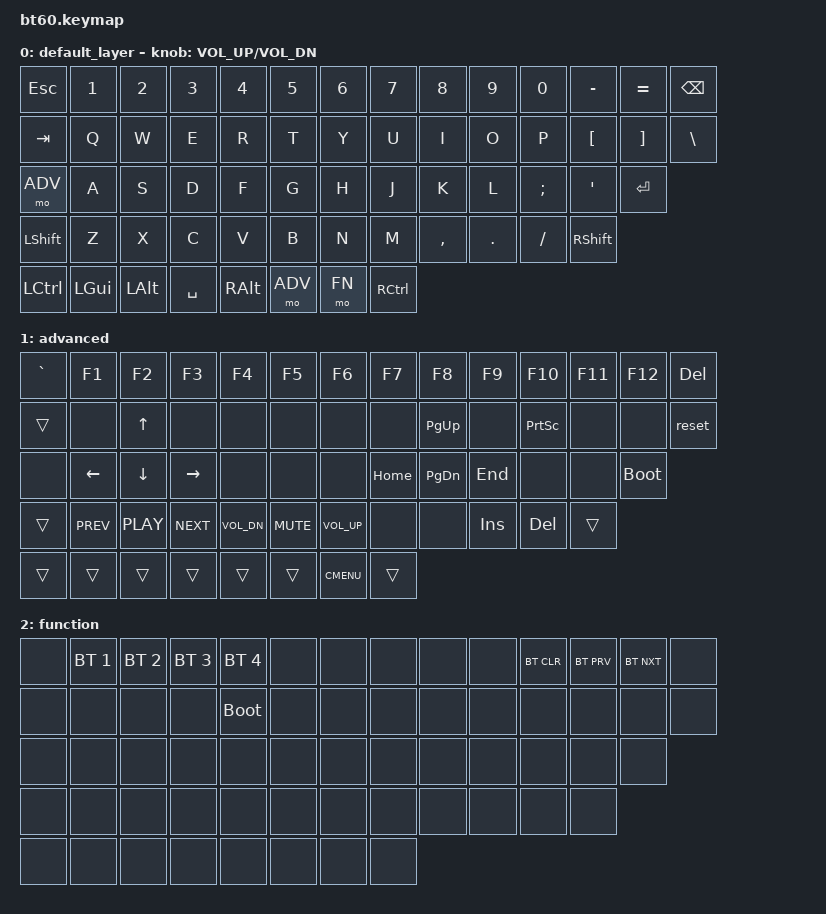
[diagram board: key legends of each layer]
#include <behaviors.dtsi>
#include <dt-bindings/zmk/keys.h>
#include <dt-bindings/zmk/bt.h>

#define DEFAULT 0
#define ADV   	1
#define FN   	2

/ {
	keymap {
		compatible = "zmk,keymap";

		default_layer {
				// ------------------------------------------------------------------------------------------
				// | ESC |  1  |  2  |  3  |  4  |  5  |  6  |  7  |  8  |  9  |  0  |  -  |  =  |   BKSP   |
				// | TAB  |  Q  |  W  |  E  |  R  |  T  |  Y  |  U  |  I  |  O  |  P  |  [  |  ]  |   |    |
				// | CAPS  |  A  |  S  |  D  |  F  |  G  |  H  |  J  |  K  |  L  |  ;  |  '  |     ENTER    |
				// |  SHIFT    |  Z  |  X  |  C  |  V  |  B  |  N  |  M  |  ,  |  .  | /   |      SHIFT     |
				// |  CTL  |  WIN  |  ALT  |            SPACE               | ALT | ADV    |  FN    |  CTRL    |
				// ------------------------------------------------------------------------------------------
			bindings = <
				&kp ESC  &kp N1  &kp N2  &kp N3  &kp N4  &kp N5  &kp N6  &kp N7  &kp N8  &kp N9  &kp N0  &kp MINUS  &kp EQUAL  &kp BSPC
				&kp TAB  &kp Q  &kp W  &kp E  &kp R  &kp T  &kp Y  &kp U  &kp I  &kp O  &kp P  &kp LBKT  &kp RBKT  &kp BSLH
				&mo ADV  &kp A  &kp S  &kp D  &kp F  &kp G  &kp H  &kp J  &kp K  &kp L  &kp SEMI  &kp SQT  &kp RET
				&kp LSHFT  &kp Z  &kp X  &kp C  &kp V  &kp B  &kp N  &kp M  &kp COMMA  &kp DOT  &kp FSLH  &kp RSHFT
				&kp LCTRL  &kp LGUI  &kp LALT   &kp SPACE   &kp RALT  &mo ADV  &mo FN  &kp RCTRL
			>;
			sensor-bindings = <&inc_dec_kp C_VOL_UP C_VOL_DN>;
		};
		advanced {
			bindings = <
				&kp GRAVE  &kp F1  &kp F2  &kp F3  &kp F4  &kp F5  &kp F6  &kp F7  &kp F8  &kp F9  &kp F10  &kp F11  &kp F12  &kp DEL
				&trans  &none  &kp UP  &none  &none  &none  &none  &none  &kp PG_UP  &none  &kp PSCRN  &none  &none  &reset
				&none &kp LEFT &kp DOWN &kp RIGHT &none  &none  &none  &kp HOME  &kp PG_DN  &kp END  &none  &none  &bootloader
				&trans  &kp C_PREV  &kp C_PLAY  &kp C_NEXT  &kp C_VOL_DN  &kp C_MUTE  &kp C_VOL_UP  &none  &none  &kp INS  &kp DEL  &trans
				&trans  &trans  &trans   &trans   &trans  &trans  &kp K_CMENU  &trans
			>;
		};
		function {
			bindings = <
				&none  &bt BT_SEL 1  &bt BT_SEL 2  &bt BT_SEL 3  &bt BT_SEL 4  &none  &none  &none  &none  &none  &bt BT_CLR  &bt BT_PRV  &bt BT_NXT  &none
				&none  &none  &none  &none  &bootloader  &none  &none  &none  &none  &none  &none  &none  &none  &none
				&none  &none  &none  &none  &none  &none  &none  &none  &none  &none  &none  &none  &none
				&none  &none  &none  &none  &none  &none  &none  &none  &none  &none  &none  &none
				&none  &none  &none  &none  &none  &none  &none  &none
			>;
		};
	};
};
